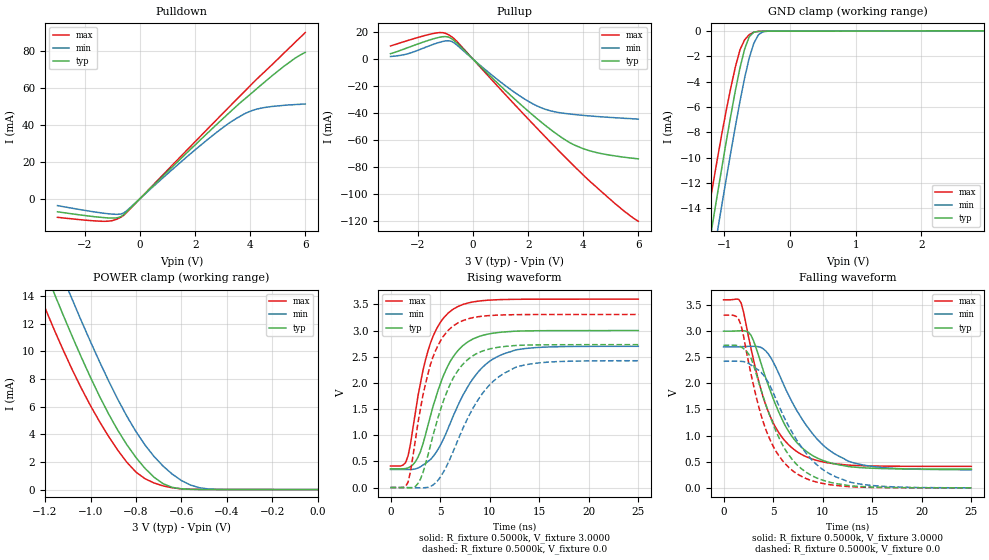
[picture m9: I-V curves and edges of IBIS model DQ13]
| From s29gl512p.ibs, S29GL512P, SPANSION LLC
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|   Model DQ13
[Model]  DQ13
Model_type I/O
Vinl =   0.9000V
Vinh =   2.1000V
Vmeas =  1.5000V
Cref =   30.0000pF
C_comp   2.0000pF   2.0000pF   2.0000pF
[Temperature Range]   25.0000   85.0000   -40.0000
[Pullup Reference]   3.0000V   2.7000V   3.6000V
[Pulldown Reference]   0.0V   0.0V   0.0V
[POWER Clamp Reference]   3.0000V   2.7000V   3.6000V
[GND Clamp Reference]   0.0V   0.0V   0.0V
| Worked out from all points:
|   slope of the pulldown table from 0 to 0.45 V, typ, clamps not added: 67.8 ohm
|   slope of the pullup table from 0 to 0.45 V, typ, clamps not added: 49.6 ohm
|   GND clamp passes 1 mA (typ) near -0.66 V on its own axis
|   POWER clamp passes 1 mA (typ) near -0.73 V on its own axis
|   rising waveform, R_fixture 0.5000k, V_fixture 3.0000: 20-80 % time 2.88ns typ, 3.89ns min, 2.28ns max; typ from 0.359 V to 3 V
|   rising waveform, R_fixture 0.5000k, V_fixture 0.0: 20-80 % time 2.95ns typ, 4.04ns min, 2.31ns max; typ from 0.001 V to 2.73 V
|   falling waveform, R_fixture 0.5000k, V_fixture 3.0000: 20-80 % time 3.67ns typ, 4.58ns min, 3.16ns max; typ from 3 V to 0.358 V
|   falling waveform, R_fixture 0.5000k, V_fixture 0.0: 20-80 % time 3.63ns typ, 4.44ns min, 3.15ns max; typ from 2.73 V to 0 V
[Pulldown]
|Voltage   I(typ)   I(min)   I(max)
-3V       -7.17mA    -3.81mA    -10.16mA
-1.2V     -10.46mA   -8.16mA    -12.3mA
-800mV    -10.33mA   -8.538mA   -10.91mA
-600mV    -8.754mA   -7.865mA   -9.13mA
2V        29.13mA    26.45mA    30.87mA
2.9V      41.85mA    37.29mA    44.6mA
3.5V      50.13mA    43.49mA    53.71mA
3.9V      55.28mA    46.74mA    59.74mA
4.3V      60.39mA    48.75mA    65.69mA
5.2V      71.47mA    50.57mA    78.55mA
5.6V      75.84mA    50.94mA    84.34mA
6V        79.32mA    51.3mA     90.06mA
[Pullup]
|Voltage   I(typ)   I(min)   I(max)
-3V       4.17mA     2.06mA     9.88mA
-2.3V     9.19mA     4.52mA     14.41mA
-1.3V     15.98mA    12.11mA    19.67mA
-1V       16.85mA    13.65mA    19.24mA
-800mV    15.58mA    13.41mA    17.03mA
1.2V      -23.73mA   -20.04mA   -26.85mA
1.9V      -36.73mA   -29.92mA   -42.18mA
2.4V      -45.46mA   -35.41mA   -52.94mA
3.3V      -59.28mA   -40.13mA   -71.84mA
3.9V      -65.64mA   -41.49mA   -84.02mA
5.1V      -71.63mA   -43.34mA   -106.3mA
6V        -74mA      -44.49mA   -120.4mA
[GND_clamp]
|Voltage   I(typ)   I(min)   I(max)
-3V       -75.8mA    -77.84mA   -73.14mA
-1.32V    -19.78mA   -22.67mA   -16.77mA
-1.25V    -17.52mA   -20.44mA   -14.54mA
-1.18V    -15.27mA   -18.22mA   -12.36mA
-1.11V    -13.05mA   -16.01mA   -10.24mA
-1.04V    -10.87mA   -13.83mA   -8.198mA
-830mV    -4.677mA   -7.5mA     -2.814mA
-690mV    -1.422mA   -3.702mA   -694.9uA
-550mV    -95.97uA   -969.5uA   -93.26uA
-480mV    -32.5uA    -297.2uA   -34.91uA
-340mV    -18.5uA    -22.15uA   -21.13uA
2.95V     9.466uA    11.01uA    6.466uA
[POWER_clamp]
|Voltage   I(typ)   I(min)   I(max)
-3V       95.68mA    96.81mA    93.72mA
-1.24V    17.48mA    20.14mA    14.74mA
-1.2V     15.83mA    18.51mA    13.14mA
-1.16V    14.21mA    16.9mA     11.58mA
-1.08V    11.07mA    13.74mA    8.665mA
-960mV    6.749mA    9.252mA    4.919mA
-840mV    3.253mA    5.317mA    1.985mA
-720mV    900.3uA    2.399mA    486.6uA
-640mV    170uA      1.126mA    139uA
-560mV    29.4uA     337.8uA    32.8uA
-480mV    15.26uA    54.7uA     17.13uA
0V        9.881uA    8.893uA    11.86uA
[Ramp]
| variable   typ   min   max
dV/dt_r  1.6375/2.9190n   1.4533/3.9996n   1.9836/2.2802n
dV/dt_f  1.5845/3.6387n   1.4115/4.5324n   1.9127/3.1293n
R_load = 0.5000k
[Rising Waveform]
R_fixture= 0.5000k
V_fixture= 3.0000
V_fixture_min= 2.7000
V_fixture_max= 3.6000
|time   V(typ)   V(min)   V(max)
0s        358.8mV    346mV      412mV
1.52ns    363.2mV    345.6mV    476.8mV
2.02ns    398.2mV    346.6mV    838.3mV
2.78ns    582.6mV    373.2mV    1.759V
3.54ns    1.017V     464.5mV    2.446V
4.29ns    1.552V     592.1mV    2.89V
6.31ns    2.497V     1.36V      3.407V
8.84ns    2.88V      2.207V     3.561V
11.36ns   2.972V     2.55V      3.592V
25ns      3V         2.699V     3.6V
[Rising Waveform]
R_fixture= 0.5000k
V_fixture= 0.0
V_fixture_min= 0.0
V_fixture_max= 0.0
|time   V(typ)   V(min)   V(max)
0s        891uV      857.5uV    1.024mV
1.77ns    -3.359mV   171.5uV    103.9mV
2.78ns    81.02mV    -3.698mV   1.25V
3.28ns    288.8mV    -5.374mV   1.774V
4.29ns    1.001V     49.49mV    2.497V
6.31ns    2.087V     686.9mV    3.087V
7.58ns    2.409V     1.243V     3.208V
9.34ns    2.611V     1.815V     3.276V
12.63ns   2.714V     2.298V     3.303V
25ns      2.73V      2.423V     3.307V
[Falling Waveform]
R_fixture= 0.5000k
V_fixture= 3.0000
V_fixture_min= 2.7000
V_fixture_max= 3.6000
|time   V(typ)   V(min)   V(max)
0s        2.999V     2.699V     3.599V
1.77ns    3.007V     2.702V     3.541V
2.78ns    2.918V     2.709V     2.658V
3.79ns    2.379V     2.686V     1.869V
4.8ns     1.816V     2.483V     1.329V
6.06ns    1.252V     1.977V     930.2mV
7.32ns    883.2mV    1.502V     704mV
9.85ns    538mV      852.9mV    504.3mV
12.63ns   407.4mV    508.1mV    434.8mV
25ns      358.2mV    346.5mV    411.1mV
[Falling Waveform]
R_fixture= 0.5000k
V_fixture= 0.0
V_fixture_min= 0.0
V_fixture_max= 0.0
|time   V(typ)   V(min)   V(max)
0s        2.729V     2.423V     3.306V
1.52ns    2.716V     2.424V     3.227V
2.53ns    2.563V     2.381V     2.399V
3.54ns    2.028V     2.251V     1.56V
4.29ns    1.58V      2.086V     1.101V
5.81ns    872.6mV    1.474V     555.9mV
7.07ns    510.9mV    1.011V     312.7mV
9.6ns     175mV      411.8mV    100.7mV
12.63ns   43.2mV     115.2mV    23.53mV
25ns      231.2uV    888uV      97.45uV
